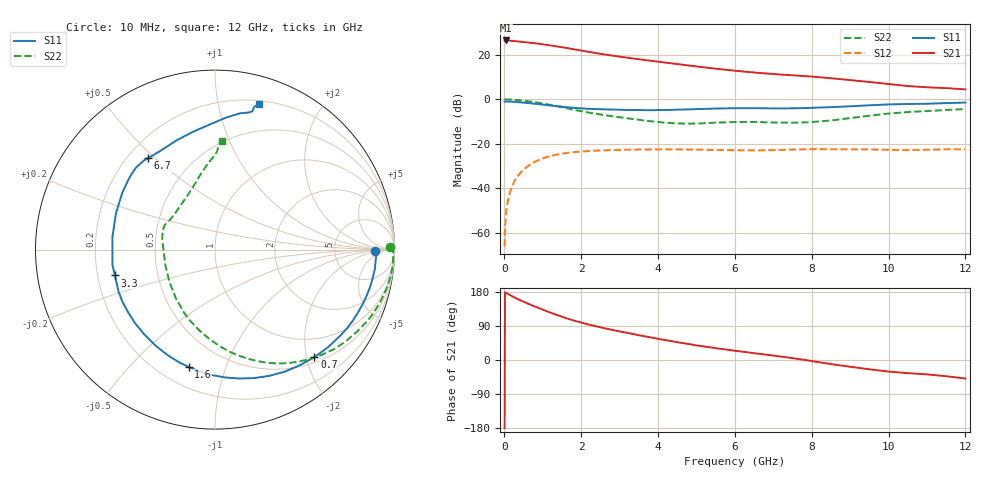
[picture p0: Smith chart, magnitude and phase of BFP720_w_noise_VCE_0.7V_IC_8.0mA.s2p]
! Infineon Technologies  Discrete & RF Semiconductors
! BFP720
! VCE =  0.7 V,  IC =  8.0 mA
! Common Emitter S-Parameters:  Aug 2012
# GHz  S  MA  R  50
!  f  S11  S21  S12  S22
! GHz  MAG  ANG  MAG  ANG  MAG  ANG  MAG  ANG
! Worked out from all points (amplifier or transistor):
!   105 points, 10 MHz to 12 GHz, reference 50 ohm
!   highest |S21| = 26.5 dB at 50 MHz (marker M1)
!   |S21| within 3 dB of that: start of sweep to 1.482 GHz
!   unconditionally stable (mu >= 1): 6.127 GHz to end of sweep
!   at 300 MHz: K = 0.07, MSG = 31.0 dB, |S12| = -35.8 dB
!   at 3.6 GHz: K = 0.61, MSG = 20.2 dB, |S12| = -22.5 dB
!   at 12 GHz: K = 1.01, MAG = 12.9 dB, |S12| = -22.5 dB
!   lowest NFmin = 0.48 dB at 450 MHz
!   S11 on the Smith chart (normalised r, x): 10 MHz: 18, -1; 700 MHz: 0.60, -2.15; 1.6 GHz: 0.32, -0.75; 3.3 GHz: 0.27, -0.12; 6.7 GHz: 0.28, +0.47; 12 GHz: 0.23, +1.32
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0.01  0.8931 -0.4  20.69 -179.6  0.0005 -94.5  0.976 0.9
0.02  0.9008 -1.4  20.85 178.7  0.0011 103.4  0.9931 -0.8
0.05  0.8973 -3.5  21.16 177.0  0.003 91.9  0.994 -2.4
0.15  0.8925 -10.6  20.98 171.4  0.0082 83.8  0.9907 -7.7
0.35  0.8694 -24.2  20.14 161.0  0.0187 76.1  0.9653 -17.9
0.5  0.8475 -34.2  19.49 154.0  0.0262 70.6  0.9371 -25.2
0.7  0.816 -47.3  18.64 145.3  0.0354 63.2  0.8913 -34.8
0.8  0.7985 -54.1  18.32 141.0  0.0395 59.8  0.867 -39.5
1.1  0.7477 -73.3  16.85 128.9  0.0502 49.8  0.781 -52.9
1.3  0.7148 -85.4  15.88 121.4  0.0557 43.9  0.7228 -61.4
1.6  0.6703 -102.7  14.45 110.7  0.0619 36.1  0.6382 -72.8
1.8  0.6472 -112.9  13.45 104.5  0.0649 31.6  0.5875 -80.0
2.1  0.6205 -125.8  12.13 96.3  0.068 25.9  0.5235 -89.4
2.6  0.5971 -143.9  10.3 84.0  0.0716 18.2  0.4446 -103.7
3.3  0.5761 -165.5  8.432 69.7  0.074 10.0  0.366 -122.5
4.1  0.576 170.1  6.879 54.2  0.0751 2.3  0.3048 -148.0
5  0.6055 148.6  5.51 38.5  0.0742 -4.7  0.2874 179.7
6.1  0.6341 132.8  4.34 23.2  0.0718 -9.6  0.3105 158.8
6.7  0.6318 126.4  3.9 15.6  0.0717 -10.8  0.3076 151.8
8.5  0.6692 100.1  2.991 -10.7  0.0756 -19.3  0.3357 117.6
10.5  0.7872 76.1  1.998 -34.7  0.0725 -26.8  0.5193 90.7
12  0.8489 73.1  1.682 -48.9  0.0754 -32.3  0.6074 86.5
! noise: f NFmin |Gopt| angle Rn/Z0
0.45  0.48  0.35  2  0.16
1.8  0.54  0.32  22  0.14
2.4  0.59  0.26  45  0.25
5.5  0.73  0.14  40  0.14
10  0.95  0.39  -84  0.22
